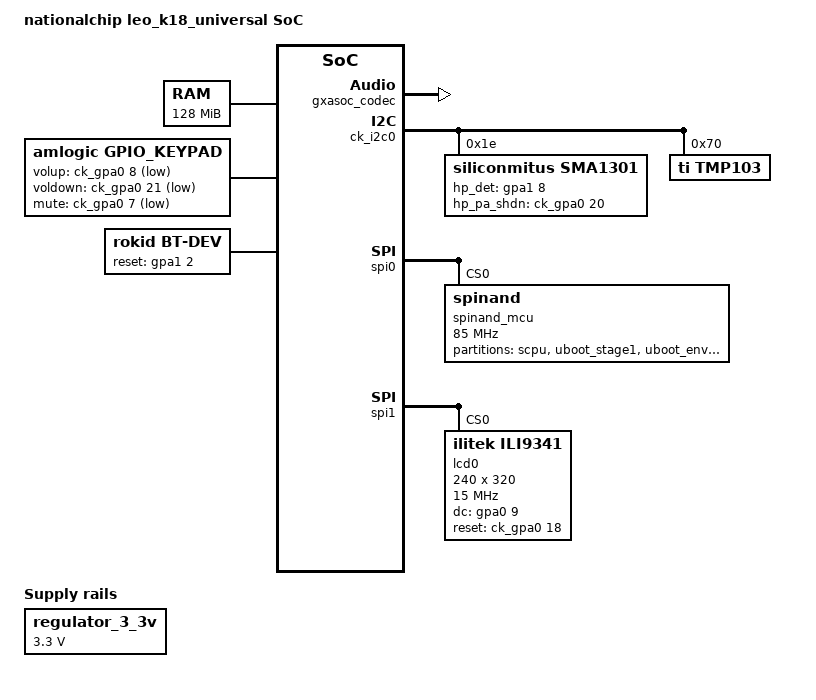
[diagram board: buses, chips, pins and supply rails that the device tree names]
/*
 *  Copyright (C) 2013 Steffen Trumtrar <s.trumtrar@pengutronix.de>
 *
 * This program is free software; you can redistribute it and/or modify
 * it under the terms of the GNU General Public License as published by
 * the Free Software Foundation; either version 2 of the License, or
 * (at your option) any later version.
 *
 * This program is distributed in the hope that it will be useful,
 * but WITHOUT ANY WARRANTY; without even the implied warranty of
 * MERCHANTABILITY or FITNESS FOR A PARTICULAR PURPOSE.  See the
 * GNU General Public License for more details.
 *
 * You should have received a copy of the GNU General Public License
 * along with this program.  If not, see <http://www.gnu.org/licenses/>.
 */

/dts-v1/;
/* First 4KB has trampoline code for secondary cores. */
/* /memreserve/ 0x00000000 0x0001000; */

#include "leo.dtsi"

/ {
	model = "nationalchip leo_k18_universal SoC";
	compatible = "nationalchip,leo_k18_universal_1v", "nationalchip,leo";

	chosen {
		bootargs = "earlyprintk";
		stdout-path = "serial0:115200n8";
	};

	memory {
		name = "memory";
		device_type = "memory";
		reg = <0x10000000 0x8000000>;
	};

	aliases {
		/* this allow the ethaddr uboot environmnet variable contents
		 * to be added to the gmac1 device tree blob.
		 */
	};

	regulator_3_3v: vcc3p3-regulator {
		compatible = "regulator-fixed";
		regulator-name = "VCC3P3";
		regulator-min-microvolt = <3300000>;
		regulator-max-microvolt = <3300000>;
	};

/*
	a7_key:a7_key@0x2305008{
		compatible = "nationalchip,LEO-keypad";
		reg = <0x230501c 0x90>;
		autorepeat;
	};

	csky_key:csky_key@0x305004{
		compatible = "nationalchip,LEO-keypad";
		reg = <0x30501c 0x90>;
		autorepeat;

        key1:key1{
			key_code  = <KEY_MUTE>;
			key_gpio = <7>;
		};
        key2:key2{
			key_code  = <KEY_VOLUMEUP>;
			key_gpio = <8>;
		};
        key3:key3{
			key_code  = <KEY_VOLUMEDOWN>;
			key_gpio = <21>;
		};
	};
*/
	gpio_keypad{
		compatible = "amlogic, gpio_keypad";
		status = "okay";
		scan_period = <20>;

		key_num = <3>;
		key_name = "volup", "voldown" , "mute";
		key_code = <115 114 113>;

		volup-gpio =   <&ck_gpa0 8 GPIO_ACTIVE_LOW>;
		voldown-gpio = <&ck_gpa0 21 GPIO_ACTIVE_LOW>;
		mute-gpio =    <&ck_gpa0 7 GPIO_ACTIVE_LOW>;

		//gpio_high_z = <1>;
		//irq_keyup = <6>;
		//irq_keydown = <7>;
	};
/*
	switch_key{
		compatible = "rokid, switch_key";
		status = "okay";
		switch_name = "lock";
		switch_pin = <&ck_gpa0 18 GPIO_ACTIVE_HIGH>;
		switch-gpio-pull = <0>;//0: pull disable, 1: pull down, 2: pull up
		debounce = <0>;
	};
*/
	urat1_control{
		compatible = "nationalchip,LEO_uart_control";
		reg = <0x02308000 0x1000>;
		val = <0x01>;
		cts-gpio = <&gpa0 27 GPIO_ACTIVE_HIGH>;
		rts-gpio = <&gpa0 26 GPIO_ACTIVE_HIGH>;
	};

	gxasoc-machine {
		name = "gxasoc-machine";
		compatible = "NationalChip,ASoc-Machine";
		num_codecs = <2>;
		codec-name     = "gxasoc-lodac", "sma1301";
		codec-dai-name = "gxasoc-lodac-dai", "sma1301-voice";
		platform-name  = "gxasoc-platform";
		cup-dai-name   = "gxasoc-platform-dai";
		status = "okay";
	};

	gxasoc-platform_dai {
		dev-name   = "gxasoc-platform-dai";
		compatible = "NationalChip,ASoc-Platform_Dai";
		status = "okay";
	};

    bt-dev{
		compatible = "rokid, bt-dev";
		dev_name = "bt-dev";
		status = "okay";
		reset-gpio = <&gpa1 2 GPIO_ACTIVE_HIGH>;
	};

	thermal-zones {
		board_thermal: board_thermal {
			polling-delay-passive = <1250>; /* milliseconds */
			polling-delay = <1500>; /* milliseconds */

			/* sensor ID */
			thermal-sensors = <&tmp103 0>;
		};
	};

};

&gxasoc_codec{
	status = "okay";
};

&ck_i2c0{
	status = "okay";
};

&spi0{
	status = "okay";

	/* spi nor flash */
	/*M25P@0 {
		compatible = "jedec,spi-nor";
		spi-max-frequency = <85000000>;
		reg = <1>;
		status = "okay";

		partitions {
			#address-cells = <1>;
			#size-cells = <1>;
			compatible = "fixed-partitions";
			scpu {		reg = <0x000000 0x100000>; };
			uboot_stage1 {	reg = <0x100000 0x40000>;  };
			uboot_env {	reg = <0x140000 0x40000>;  };
			uboot_stage2 {	reg = <0x180000 0x80000>;  };
			boot_music {	reg = <0x200000 0x80000>;  };
			kernel_dtb {	reg = <0x280000 0x80000>;  };
			kernel {	reg = <0x300000 0x500000>; };
		};
	};*/

	/* spi nand flash */
	spinand_mcu@0 {
		compatible = "spinand";
		spi-max-frequency = <85000000>;
		reg = <0>;
		status = "okay";

		partitions {
			#address-cells = <1>;
			#size-cells = <1>;
			compatible = "fixed-partitions";
			scpu {		reg = <0x000000 0x100000>; };
			uboot_stage1 {	reg = <0x100000 0x40000>;  };
			uboot_env {	reg = <0x140000 0x40000>;  };
			uboot_stage2 {	reg = <0x180000 0x80000>;  };
			boot_music {	reg = <0x200000 0x80000>;  };
			kernel_dtb {	reg = <0x280000 0x80000>;  };
			kernel {	reg = <0x300000 0x700000>; };
			rootfs {	reg = <0xa00000 0x7600000>;};
		};
	};

};

&spi1{
       lcd0: ili9341@0{
               compatible = "ilitek,ili9341";
               reg = <0>;
               status = "okay";
               spi-max-frequency = <15000000>;
               /*regwidth = <8>;*/
               width = <240>;
               height = <320>;
               buswidth = <8>;
               /*bpp = <16>;*/
               bgr = <1>;
               dc-gpios = <&gpa0 9 GPIO_ACTIVE_HIGH>;
               reset-gpios = <&ck_gpa0 18 GPIO_ACTIVE_HIGH>;
               debug = <0x1>;
       };
};

&mmc0{
	status = "disabled";
};

&mmc1 {
    wlan_on-gpio = <&gpa1 13 GPIO_ACTIVE_HIGH>;
};

#if 0
&ck_i2c1{
	aw_9163_ts@2c{
		compatible = "awinic,aw9163_ts";
		reg = <0x2c>;
		irq-gpio = <&gpa1 11 GPIO_ACTIVE_HIGH>;
		status = "okay";
		aw9163,led{
			aw9163,name = "aw9163_led";
			aw9163,imax = <1>;
			aw9163,brightness = <128>;
			aw9163,max_brightness = <255>;
			};
		};
};
#endif
&ck_i2c0{
	sma1301@1e {
		compatible = "siliconmitus,sma1301";
		dev-name = "sma1301";
		reg = <0x1e>;
		init-vol = <0x3e>;
		//sck-pll-enable;
		board-revision = "MVT1";
		registers-of-amp = <0x46 0x20>,
						   <0x47 0x00>,
						   <0x48 0x02>;
		hp_det-gpio = <&gpa1 8 GPIO_ACTIVE_HIGH>;
		hp_pa_shdn-gpio = <&ck_gpa0 20 GPIO_ACTIVE_HIGH>;
		};

	tmp103: tmp103@70 {
		compatible = "ti,tmp103";
		reg = <0x70>;
		//pinctrl-names = "default";
		//pinctrl-0 = <&tmp102_pins_default>;
		//interrupt-parent = <&gpio7>;
		//interrupts = <16 IRQ_TYPE_LEVEL_LOW>;
		#thermal-sensor-cells = <0>;
	};

/*
	npcp215x@73 {
		compatible = "npcp215x";
		dev-name = "npcp215x";
		reg = <0x73>;
		dsp_rst-gpio = <&ck_gpa0 6 GPIO_ACTIVE_HIGH>;
		amp_pdn-gpio = <&ck_gpa1 3 GPIO_ACTIVE_HIGH>;
	};
*/
/*
	nau8822@1a {
		compatible = "nau8822";
		dev-name = "nau8822";
		reg = <0x1a>;
	};
*/
#if 0
	lis331dlh: lis331dlh@18 {
		compatible = "st,lis331dlh", "st,lis3lv02d";
		reg = <0x18>;
		//Vdd-supply = <&lis3_reg>;
		//Vdd_IO-supply = <&lis3_reg>;

		st,click-single-x;
		st,click-single-y;
		st,click-single-z;
		st,click-thresh-x = <10>;
		st,click-thresh-y = <10>;
		st,click-thresh-z = <10>;
		st,irq1-click;
		st,irq2-click;
		st,wakeup-x-lo;
		st,wakeup-x-hi;
		st,wakeup-y-lo;
		st,wakeup-y-hi;
		st,wakeup-z-lo;
		st,wakeup-z-hi;
		st,min-limit-x = <120>;
		st,min-limit-y = <120>;
		st,min-limit-z = <140>;
		st,max-limit-x = <550>;
		st,max-limit-y = <550>;
		st,max-limit-z = <750>;
		st,default-rate = <100>;
	};
#endif
};

